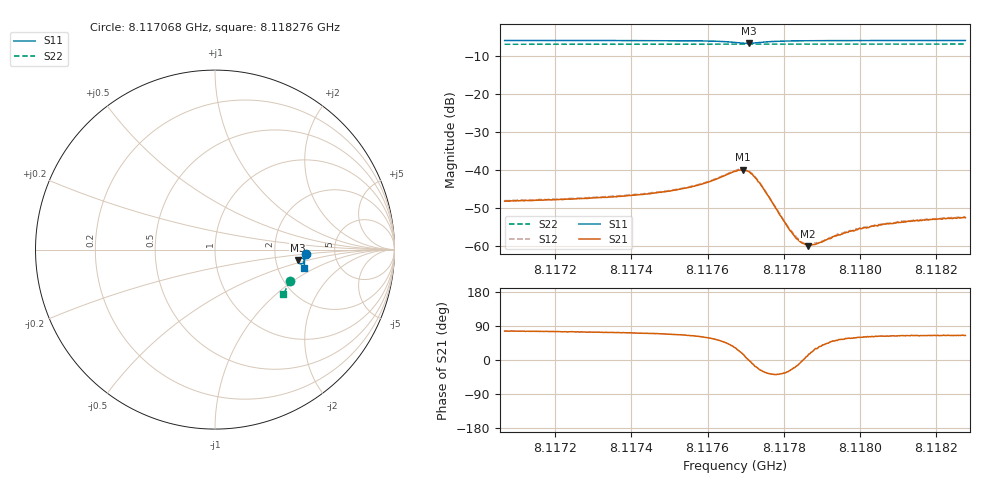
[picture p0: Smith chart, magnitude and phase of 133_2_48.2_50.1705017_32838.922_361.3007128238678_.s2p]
#  HZ  S  RI  R  50.00
! Rohde & Schwarz Vector Network Analyzer
! Rohde-Schwarz,ZNB20-2Port,1311601062101988,3.16
! Created: UTC 3/20/2024, 11:41:59 AM
! freq[Hz]  re:S11  im:S11  re:S21  im:S21  re:S12  im:S12  re:S22  im:S22
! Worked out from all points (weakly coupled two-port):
!   401 points, 8.117068 GHz to 8.118276 GHz, reference 50 ohm
!   highest |S21| = -39.88 dB at 8.117693 GHz (marker M1); lowest = -60.0 dB at 8.117862 GHz (marker M2)
!   lowest |S11| = -6.7 dB at 8.117708 GHz (marker M3), VSWR 2.73, Z = 133 - j19.6 ohm
!   |S11| at or under -10 dB: nowhere
!   |S22| runs from -6.9 to -6.8 dB; largest |S21 - S12| = 0.00042
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8.1170679e9  0.5056 -0.0223  0.000922 0.0038  0.00101 0.00388  0.416 -0.174
8.1172703e9  0.504 -0.0388  0.00116 0.00406  0.00122 0.00413  0.4108 -0.1871
8.117379e9  0.5027 -0.0483  0.00137 0.00433  0.00148 0.00438  0.4079 -0.1942
8.1174726e9  0.5006 -0.0574  0.0018 0.00477  0.00187 0.00482  0.4051 -0.2004
8.1175723e9  0.4956 -0.0693  0.00287 0.00556  0.00299 0.00568  0.402 -0.2068
8.1176146e9  0.4901 -0.0756  0.0041 0.00607  0.00425 0.00616  0.4006 -0.2096
8.117672e9  0.4702 -0.0784  0.00813 0.00512  0.00837 0.00517  0.398 -0.213
8.1176931e9  0.461 -0.069  0.00977 0.00268  0.0099 0.00257  0.3973 -0.2137
8.1177082e9  0.4601 -0.0579  0.00956 -0.000104  0.00967 -0.000184  0.3968 -0.2141
8.1177233e9  0.4661 -0.0486  0.00783 -0.00222  0.00802 -0.00226  0.3967 -0.2147
8.1177415e9  0.4763 -0.0447  0.00548 -0.00289  0.00556 -0.00302  0.3967 -0.2156
8.1178109e9  0.4952 -0.0561  0.00151 -0.000905  0.00155 -0.000914  0.3953 -0.2205
8.117829e9  0.4966 -0.0593  0.00125 -0.000451  0.00134 -0.000511  0.3948 -0.2218
8.1178472e9  0.4975 -0.0623  0.0011 -6.84e-05  0.00112 -8.18e-05  0.3942 -0.2229
8.1178623e9  0.4978 -0.0645  0.000981 0.000189  0.00104 0.000186  0.3937 -0.2239
8.1178743e9  0.4982 -0.0663  0.000975 0.000384  0.000964 0.000383  0.3934 -0.2247
8.1178985e9  0.4984 -0.0694  0.000905 0.000672  0.000927 0.000654  0.3926 -0.2262
8.1179348e9  0.4984 -0.0736  0.000867 0.00107  0.000858 0.00104  0.3915 -0.2287
8.1179952e9  0.4981 -0.0798  0.000839 0.00146  0.000894 0.00142  0.3893 -0.2325
8.1180767e9  0.4972 -0.0872  0.000893 0.00176  0.000891 0.00179  0.3867 -0.2374
8.1181432e9  0.4963 -0.0929  0.000916 0.00194  0.000985 0.00197  0.3844 -0.2415
8.1182761e9  0.4942 -0.1036  0.001 0.00214  0.00106 0.00222  0.3797 -0.2496
